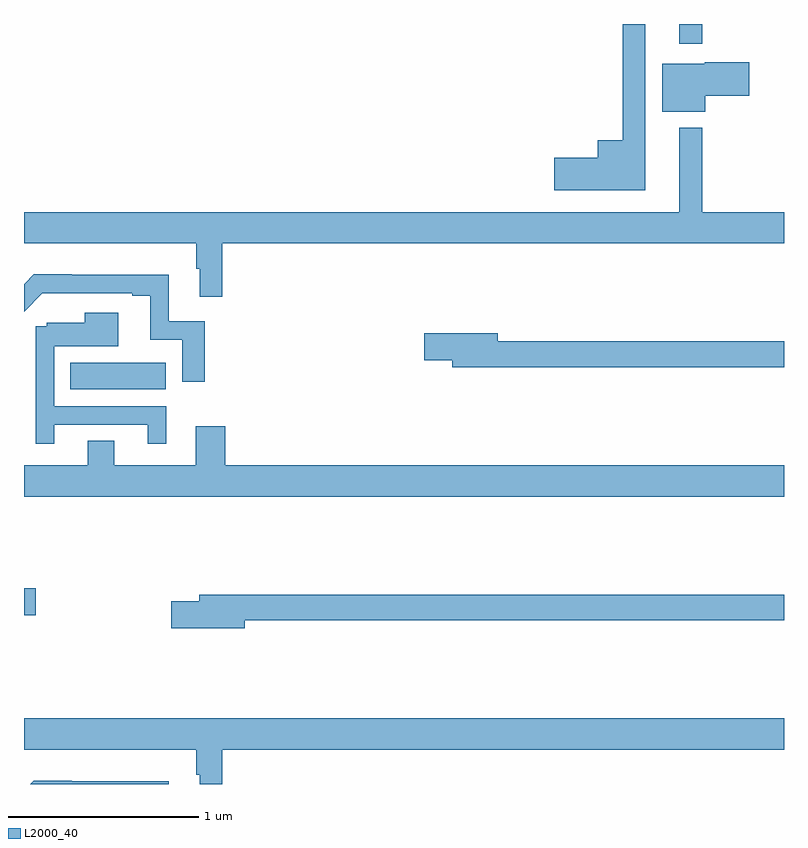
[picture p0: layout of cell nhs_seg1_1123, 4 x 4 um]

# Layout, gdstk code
import gdstk
lib = gdstk.Library(unit=1e-6, precision=1e-09)
def R(c, l, rs):  # rectangles x0, y0, x1, y1
    for r in rs: c.add(gdstk.rectangle(r[:2], r[2:], *l))
def P(c, l, *ps):  # polygons
    for p in ps: c.add(gdstk.Polygon(p, *l))
L2000_40 = (2000, 40)

nhs_seg1_1123 = lib.new_cell('nhs_seg1_1123')
R(nhs_seg1_1123, L2000_40, [(171,571.088,171.061,571.23), (171.244,572.276,171.745,572.416), (174.449,574.095,174.571,574.199)])
P(nhs_seg1_1123, L2000_40, [(174.271,574.199),(174.15,574.199),(174.15,573.586),(174.02,573.586),(174.02,573.494),(173.79,573.494),(173.79,573.323),(174.271,573.323)],
  [(174.586,573.821),(174.817,573.821),(174.817,573.999),(174.582,573.999),(174.582,573.991),(174.359,573.991),(174.359,573.737),(174.586,573.737)],
  [(172.043,573.044),(175,573.044),(175,573.208),(174.571,573.208),(174.571,573.652),(174.449,573.652),(174.449,573.208),(171,573.208),(171,573.044),(171.907,573.044),(171.907,572.912),(171.926,572.912),(171.926,572.763),(172.043,572.763)],
  [(171.95,572.634),(171.763,572.634),(171.763,572.878),(171.251,572.878),(171.251,572.881),(171.052,572.881),(171,572.829),(171,572.685),(171.096,572.781),(171.569,572.781),(171.569,572.769),(171.665,572.769),(171.665,572.538),(171.834,572.538),(171.834,572.316),(171.95,572.316)],
  [(171.16,572.091),(171.65,572.091),(171.65,571.989),(171.748,571.989),(171.748,572.187),(171.159,572.187),(171.159,572.504),(171.496,572.504),(171.496,572.68),(171.32,572.68),(171.32,572.626),(171.12,572.626),(171.12,572.607),(171.063,572.607),(171.063,571.989),(171.16,571.989)],
  [(175,572.528),(173.494,572.528),(173.494,572.571),(173.106,572.571),(173.106,572.429),(173.255,572.429),(173.255,572.392),(175,572.392)],
  [(175,571.876),(172.058,571.876),(172.058,572.083),(171.905,572.083),(171.905,571.876),(171.475,571.876),(171.475,572.006),(171.335,572.006),(171.335,571.876),(171,571.876),(171,571.712),(175,571.712)],
  [(172.162,571.06),(175,571.06),(175,571.196),(171.923,571.196),(171.923,571.16),(171.774,571.16),(171.774,571.018),(172.162,571.018)],
  [(172.043,570.38),(175,570.38),(175,570.544),(171,570.544),(171,570.38),(171.907,570.38),(171.907,570.248),(171.926,570.248),(171.926,570.199),(172.043,570.199)],
  [(171.763,570.214),(171.251,570.214),(171.251,570.217),(171.052,570.217),(171.034,570.199),(171.763,570.199)])

lib.write_gds('nhs_seg1_1123.gds')
